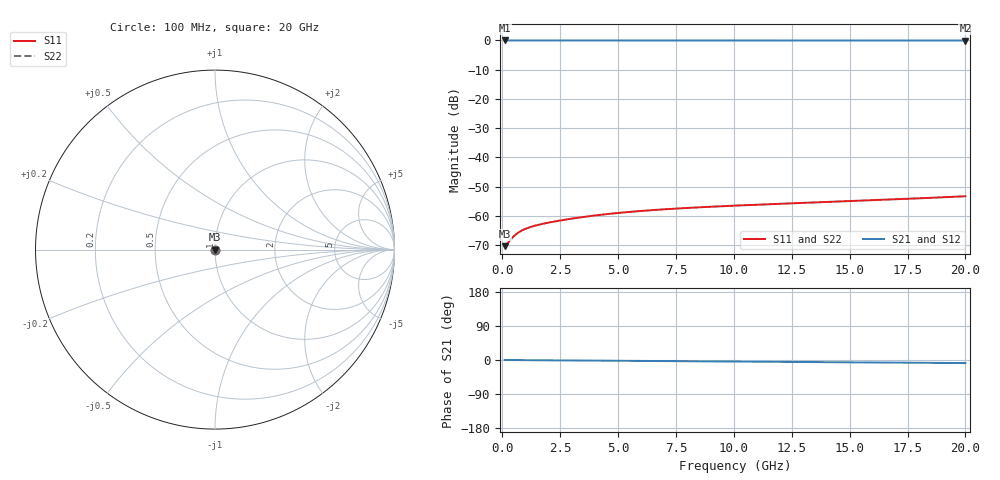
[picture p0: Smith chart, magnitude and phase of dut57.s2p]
! Touchstone file exported from HFSS 2026.1.0
!  File:  C:/ffzhzh/LocalFiles/Ansys_Project_Files/temp_train_TSV_57_1782958965_15332.aedt
!  Generated:  10:24:21 AM Jul  2, 2026
!  Design:  TSV
!  Project:  temp_train_TSV_57_1782958965_15332
! Variables:
!  h_bsmrdl = 2um
!  h_ox = 20um
!  h_rdl = 5um
!  h_sub = 86.87um
!  h_tmrdl = 5um
!  h_tsv = 86.87um
!  h_via = 3um
!  l_bsmrdl = 300um
!  l_sub = 412.46um
!  l_tmrdl = 200um
!  m_sub = 200um
!  pitch = 25.55um
!  r_tsv = 6.23um
!  s_tmrdl = 10um
!  w_bsmrdl = 18um
!  w_sub = 500um
!  w_tmrdl = 12um
!  x_tsv_center1 = 206um
!  x_tsv_center2 = 524um
!  x_tsv_center3 = 736um
!  x_tsv_center4 = 1054um
!  x_tsv_center5 = 1266um
!  x_tsv_center6 = 1584um
# GHz S MA R 50.000000
! Terminal data exported
! Port[1] = TSV1_1_T1
! Port[2] = TSV1_1_T2
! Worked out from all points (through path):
!   200 points, 100 MHz to 20 GHz, reference 50 ohm
!   highest |S21| = 0.00 dB at 100 MHz (marker M1); lowest = 0.0 dB at 20 GHz (marker M2)
!   group delay of S21, straight-line fit = 1.13 ps
!   lowest |S11| = -70.4 dB at 100 MHz (marker M3), VSWR 1.00, Z = 50 + j0.00543 ohm
!   |S11| at or under -10 dB: start of sweep to end of sweep
!   |S22| runs from -70.4 to -53.3 dB; largest |S21 - S12| = 3.1e-15
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0.1  0.0003025 10.3  0.9997 -0.0  0.9997 -0.0  0.0003025 10.3
! Gamma 0 0 0 0
! Port Impedance 50 0 50 0
0.2  0.00033 18.5  0.9997 -0.1  0.9997 -0.1  0.00033 18.5
0.4  0.0004082 27.1  0.9996 -0.2  0.9996 -0.2  0.0004082 27.1
0.5  0.0004482 28.8  0.9996 -0.2  0.9996 -0.2  0.0004482 28.8
0.6  0.0004852 29.5  0.9996 -0.3  0.9996 -0.3  0.0004852 29.5
0.7  0.0005187 29.7  0.9996 -0.3  0.9996 -0.3  0.0005187 29.7
0.8  0.0005485 29.6  0.9995 -0.3  0.9995 -0.3  0.0005485 29.6
0.9  0.0005751 29.3  0.9995 -0.4  0.9995 -0.4  0.0005752 29.3
1.1  0.0006206 28.8  0.9995 -0.5  0.9995 -0.5  0.0006207 28.8
1.5  0.0006921 27.7  0.9994 -0.6  0.9994 -0.6  0.0006922 27.7
2  0.0007651 26.9  0.9993 -0.8  0.9993 -0.8  0.0007652 26.9
2.7  0.0008572 25.8  0.9992 -1.1  0.9992 -1.1  0.0008573 25.8
3.5  0.0009556 24.2  0.9991 -1.5  0.9991 -1.5  0.0009556 24.2
4.2  0.001036 22.3  0.9991 -1.7  0.9991 -1.7  0.001036 22.3
5  0.001119 19.8  0.999 -2.1  0.999 -2.1  0.001119 19.8
5.9  0.001203 16.9  0.9989 -2.4  0.9989 -2.4  0.001203 16.9
6.8  0.001277 13.8  0.9988 -2.8  0.9988 -2.8  0.001277 13.8
8.3  0.001385 8.9  0.9986 -3.4  0.9986 -3.4  0.001385 8.9
10.1  0.001497 3.3  0.9985 -4.1  0.9985 -4.1  0.001497 3.3
13.4  0.001687 -5.8  0.9983 -5.5  0.9983 -5.5  0.001687 -5.8
16.7  0.001896 -14.1  0.9981 -6.8  0.9981 -6.8  0.001897 -14.1
20  0.00216 -21.9  0.9979 -8.1  0.9979 -8.1  0.002161 -21.9
